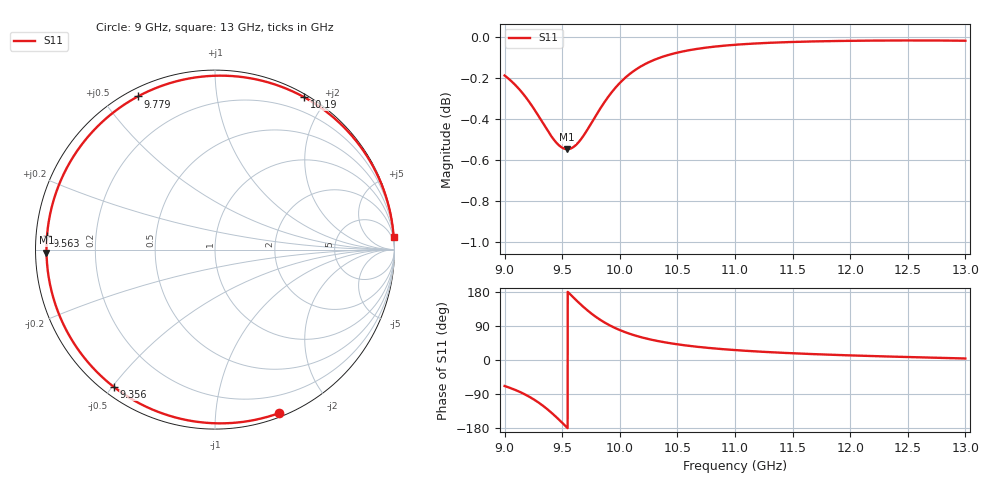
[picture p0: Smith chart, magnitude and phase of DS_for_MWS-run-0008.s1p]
! TOUCHSTONE file generated by CST DESIGN STUDIO
! Date and time: Wed Feb  5 13:20:48 2025
! Project name: C:\Work\MatlabApps\UnitCellOptimizationMatlab\CST\unitcell.cst
! Tree item: Tasks\Sweep1\SPara1\S-Parameters
! Header version: 2024
! Port assignment regex: !\s*Touchstone port\s*([0-9]+)\s*=\s*(CST MWS port|CST DES external port|CST DES block port)\s*(.+)\s* \(\"(.*)\"\)(\s*mode\s*([0-9]+))?.*
! Touchstone port assignment:
! Touchstone port 1 = CST DES external port 1 ("")
# GHz S MA R 50
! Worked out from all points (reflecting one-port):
!   4001 points, 9 GHz to 13 GHz, reference 50 ohm
!   lowest |S11| = -0.5 dB at 9.544 GHz (marker M1), VSWR 31.76, Z = 1.57 - j0.446 ohm
!   phase of S11 starts at -69 deg and turns -287 deg over the sweep
!   S11 on the Smith chart (normalised r, x): 9 GHz: 0.03, -1.46; 9.356 GHz: 0.03, -0.51; 9.563 GHz: 0.03, +0.04; 9.779 GHz: 0.03, +0.62; 10.19 GHz: 0.03, +1.74; 13 GHz: 1, +29
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9  0.9785 -68.6
9.102  0.9727 -80.2
9.212  0.9643 -96.6
9.288  0.9572 -110.9
9.356  0.9504 -126.2
9.425  0.9442 -144.1
9.464  0.9414 -155.1
9.5  0.9397 -165.7
9.544  0.939 -179.0
9.563  0.9391 175.3
9.617  0.941 159.1
9.677  0.9454 142.0
9.728  0.9502 128.7
9.779  0.9554 116.7
9.826  0.9601 106.8
9.877  0.9649 97.3
9.934  0.9697 88.1
10  0.9744 79.0
10.091  0.9796 68.7
10.191  0.9838 59.6
10.332  0.9879 49.9
10.5  0.9911 41.4
10.721  0.9936 33.3
11  0.9955 26.2
11.5  0.997 17.8
12  0.9977 12.2
12.5  0.9979 7.8
13  0.9977 4.0
